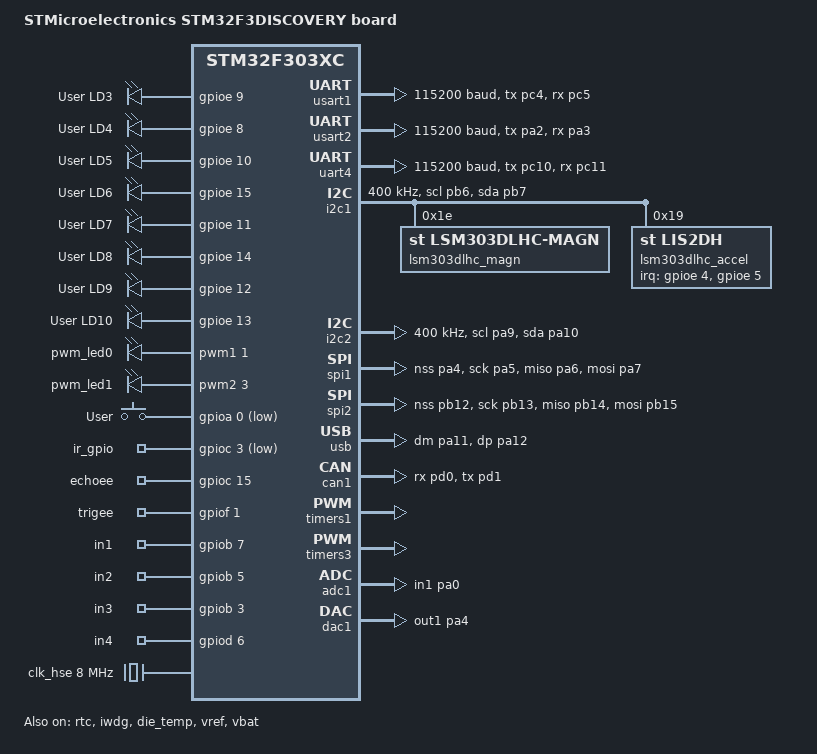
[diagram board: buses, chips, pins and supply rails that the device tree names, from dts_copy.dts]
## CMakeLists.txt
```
# SPDX-License-Identifier: Apache-2.0

cmake_minimum_required(VERSION 3.20.0)

# Find Zephyr base, required for Zephyr projects
find_package(Zephyr REQUIRED HINTS $ENV{ZEPHYR_BASE})
target_link_libraries(app PUBLIC zephyr)


# Define the project name
project(HW3)

# Gather all .c files from the src directory
file(GLOB SOURCES "src/*.c")

# Gather all .h files from the inc directory (not directly added to the target, just for inclusion)
file(GLOB HEADERS "inc/*.h")

# Specify the source files for the 'app' target
target_sources(app PRIVATE ${SOURCES})

# Include the headers directory for the 'app' target
target_include_directories(app PRIVATE ${CMAKE_SOURCE_DIR}/inc)
```

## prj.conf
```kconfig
CONFIG_PRINTK=y
CONFIG_HEAP_MEM_POOL_SIZE=256

CONFIG_CMSIS_DSP=y
CONFIG_CMSIS_DSP_FILTERING=y

CONFIG_SERIAL=y
CONFIG_UART_CONSOLE=y
CONFIG_CONSOLE=y

CONFIG_REQUIRES_FLOAT_PRINTF=y
CONFIG_REQUIRES_FULL_LIBC=y
CONFIG_RING_BUFFER=y

CONFIG_PWM=y
CONFIG_GPIO=y


CONFIG_SENSOR=y
CONFIG_LOG=y
CONFIG_SENSOR_LOG_LEVEL_DBG=y

# Enable sensor subsystem and HCSR04
```

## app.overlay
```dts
/ {
    hcsr04: hcsr04@0 {
        compatible = "hcsr04";
        label = "HCSR04";
        trigger-gpios = <&gpiof 1 GPIO_ACTIVE_HIGH>;
        echo-gpios = <&gpioc 15 GPIO_ACTIVE_HIGH>;
        status = "okay";
    };
};
```

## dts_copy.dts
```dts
/*
 * Copyright (c) 2017 I-SENSE group of ICCS
 *
 * SPDX-License-Identifier: Apache-2.0
 */

/dts-v1/;
#include <st/f3/stm32f303Xc.dtsi>
#include <st/f3/stm32f303v(b-c)tx-pinctrl.dtsi>
#include <zephyr/dt-bindings/input/input-event-codes.h>

/ {
	model = "STMicroelectronics STM32F3DISCOVERY board";
	compatible = "st,stm32f3discovery";

	chosen {
		zephyr,console = &usart1;
		zephyr,shell-uart = &usart1;
		zephyr,sram = &sram0;
		zephyr,flash = &flash0;
		zephyr,canbus = &can1;
	};

	leds {
		compatible = "gpio-leds";
		red_led_3: led_3 {
			gpios = <&gpioe 9 GPIO_ACTIVE_HIGH>;
			label = "User LD3";
		};
		blue_led_4: led_4 {
			gpios = <&gpioe 8 GPIO_ACTIVE_HIGH>;
			label = "User LD4";
		};
		orange_led_5: led_5 {
			gpios = <&gpioe 10 GPIO_ACTIVE_HIGH>;
			label = "User LD5";
		};
		green_led_6: led_6 {
			gpios = <&gpioe 15 GPIO_ACTIVE_HIGH>;
			label = "User LD6";
		};
		green_led_7: led_7 {
			gpios = <&gpioe 11 GPIO_ACTIVE_HIGH>;
			label = "User LD7";
		};
		orange_led_8: led_8 {
			gpios = <&gpioe 14 GPIO_ACTIVE_HIGH>;
			label = "User LD8";
		};
		blue_led_9: led_9 {
			gpios = <&gpioe 12 GPIO_ACTIVE_HIGH>;
			label = "User LD9";
		};
		red_led_10: led_10 {
			gpios = <&gpioe 13 GPIO_ACTIVE_HIGH>;
			label = "User LD10";
		};
	};

	pwmleds {
		compatible = "pwm-leds";
		pwm_led0: pwm_led_0 {
			pwms = <&pwm1 1 PWM_USEC(100)
			PWM_POLARITY_NORMAL>;
		};

		pwm_led1: pwm_led_1 {
			pwms = <&pwm2 3 PWM_USEC(100)
			PWM_POLARITY_NORMAL>;
		};

	};


	gpio_keys {
		compatible = "gpio-keys";
		user_button: button {
			label = "User";
			gpios = <&gpioa 0 GPIO_ACTIVE_LOW>;
			zephyr,code = <INPUT_KEY_0>;
		};

		ir_gpio: ir {
			label = "ir_gpio";
			gpios = <&gpioc 3 GPIO_ACTIVE_LOW>;
		};

		echoee: echo {
			label = "echoee";
			gpios = <&gpioc 15 GPIO_ACTIVE_HIGH>;
		};

		trigee: trig {
			label = "trigee";
			gpios = <&gpiof 1 GPIO_ACTIVE_HIGH>;
		};

		in1: in1{
			label = "in1";
			gpios = <&gpiob 7 GPIO_ACTIVE_HIGH>;
		};

		in2: in2{
			label = "in2";
			gpios = <&gpiob 5 GPIO_ACTIVE_HIGH>;   
		};

		in3: in3{
			label = "in3";
			gpios = <&gpiob 3 GPIO_ACTIVE_HIGH>;
		};

		in4: in4{
			label = "in4";
			gpios = <&gpiod 6 GPIO_ACTIVE_HIGH>;
		};
		
	};

	aliases {
		led0 = &green_led_6;
		led1 = &green_led_7;
		sw0 = &user_button;
		magn0 = &lsm303dlhc_magn;
		watchdog0 = &iwdg;
		accel0 = &lsm303dlhc_accel;
		die-temp0 = &die_temp;
		volt-sensor0 = &vref;
		volt-sensor1 = &vbat;

		//ir_sensor
		ir = &ir_gpio;
		//ultrasonic_sensor
		trig = &trigee;
		echo = &echoee;
		//motor
		ena = &pwm_led0;
		enb = &pwm_led1;

		in1 = &in1;
		in2 = &in2;
		in3 = &in3;
		in4 = &in4;


	};
};

&clk_lsi {
	status = "okay";
};

&clk_hse {
	hse-bypass;
	clock-frequency = <DT_FREQ_M(8)>; /* STLink 8MHz clock */
	status = "okay";
};

&pll {
	prediv = <1>;
	mul = <9>;
	clocks = <&clk_hse>;
	status = "okay";
};

&rcc {
	clocks = <&pll>;
	clock-frequency = <DT_FREQ_M(72)>;
	ahb-prescaler = <1>;
	apb1-prescaler = <2>;
	apb2-prescaler = <1>;
};

&usart1 {
	pinctrl-0 = <&usart1_tx_pc4 &usart1_rx_pc5>;
	pinctrl-names = "default";
	current-speed = <115200>;
	status = "okay";
};

&usart2 {
	pinctrl-0 = <&usart2_tx_pa2 &usart2_rx_pa3>;
	pinctrl-names = "default";
	current-speed = <115200>;
	status = "okay";
};

&uart4 {
	pinctrl-0 = <&uart4_tx_pc10 &uart4_rx_pc11>;
	pinctrl-names = "default";
	current-speed = <115200>;
	status = "okay";
};

&i2c1 {
	pinctrl-0 = <&i2c1_scl_pb6 &i2c1_sda_pb7>;
	pinctrl-names = "default";
	status = "okay";
	clock-frequency = <I2C_BITRATE_FAST>;

	lsm303dlhc_magn: lsm303dlhc-magn@1e {
		compatible = "st,lsm303dlhc-magn";
		reg = <0x1e>;
	};

	lsm303dlhc_accel: lsm303dlhc-accel@19 {
		compatible = "st,lis2dh", "st,lsm303dlhc-accel";
		reg = <0x19>;
		irq-gpios = <&gpioe 4 GPIO_ACTIVE_HIGH>,
			  <&gpioe 5 GPIO_ACTIVE_HIGH>;
	};
};

&i2c2 {
	pinctrl-0 = <&i2c2_scl_pa9 &i2c2_sda_pa10>;
	pinctrl-names = "default";
	status = "okay";
	clock-frequency = <I2C_BITRATE_FAST>;
};

&spi1 {
	pinctrl-0 = <&spi1_nss_pa4 &spi1_sck_pa5
		     &spi1_miso_pa6 &spi1_mosi_pa7>;
	pinctrl-names = "default";
	status = "okay";
};

&spi2 {
	pinctrl-0 = <&spi2_nss_pb12 &spi2_sck_pb13
		     &spi2_miso_pb14 &spi2_mosi_pb15>;
	pinctrl-names = "default";
	status = "okay";
};

zephyr_udc0: &usb {
	pinctrl-0 = <&usb_dm_pa11 &usb_dp_pa12>;
	pinctrl-names = "default";
	status = "okay";
};

&rtc {
	clocks = <&rcc STM32_CLOCK_BUS_APB1 0x10000000>,
		 <&rcc STM32_SRC_LSI RTC_SEL(2)>;
	status = "okay";

	backup_regs {
		status = "okay";
	};
};

&can1 {
	pinctrl-0 = <&can_rx_pd0 &can_tx_pd1>;
	pinctrl-names = "default";
	status = "okay";
};

&flash0 {

	partitions {
		compatible = "fixed-partitions";
		#address-cells = <1>;
		#size-cells = <1>;

		/* Set 6Kb of storage at the end of the 256Kb of flash */
		storage_partition: partition@3e800 {
			label = "storage";
			reg = <0x0003e800 DT_SIZE_K(6)>;
		};
	};
};

&iwdg {
	status = "okay";
};

&timers1 {
	st,prescaler = <10000>;
	status = "okay";

	pwm1: pwm {
		status = "okay";
		pinctrl-0 = <&tim1_ch1_pa8>;
		pinctrl-names = "default";
	};
};

&timers3 {
	st,prescaler = <10000>;
	status = "okay";
	pwm2: pwm {
		status = "okay";
		pinctrl-0 = <&tim3_ch3_pc8>;
		pinctrl-names = "default";
	};
};


&adc1{
	pinctrl-0 = <&adc1_in1_pa0>;
	pinctrl-names = "default";
	st,adc-clock-source = "SYNC";
	st,adc-prescaler = <2>;
	status = "okay";
};

&die_temp {
	status = "okay";
};

&dac1 {
	status = "okay";
	/* dac output pins(pa4,pa5,pa6) might conflict with spi1 pins */
	pinctrl-0 = <&dac_out1_pa4>;
	pinctrl-names = "default";
};

&dma1 {
	status = "okay";
};

&vref {
	status = "okay";
};

&vbat {
	status = "okay";
};
```

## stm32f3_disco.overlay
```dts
/*
 * Overlay for stm32f3_disco board
 * Adds application-specific GPIOs, PWM outputs, and sensor nodes.
 * SPDX-License-Identifier: Apache-2.0
 */

/ {
	gpio_keys {
		compatible = "gpio-keys";

		user_button: button {
			label = "User";
			gpios = <&gpioa 0 GPIO_ACTIVE_LOW>;
			zephyr,code = <INPUT_KEY_0>;
		};

		ir_gpio: ir {
			label = "ir_gpio";
			gpios = <&gpioc 3 GPIO_ACTIVE_LOW>;
		};

		in1: in1 {
			label = "in1";
			gpios = <&gpiob 7 GPIO_ACTIVE_HIGH>;
		};

		in2: in2 {
			label = "in2";
			gpios = <&gpiob 5 GPIO_ACTIVE_HIGH>;
		};

		in3: in3 {
			label = "in3";
			gpios = <&gpiob 3 GPIO_ACTIVE_HIGH>;
		};

		in4: in4 {
			label = "in4";
			gpios = <&gpiod 6 GPIO_ACTIVE_HIGH>;
		};

		my_hc_sr04: my_hc_sr04 {
			compatible = "my-hc-sr04";
			trigger-gpios = <&gpiof 1 GPIO_ACTIVE_HIGH>;
			echo-gpios = <&gpioc 15 GPIO_ACTIVE_HIGH>;
		};
	};

	pwmleds {
		compatible = "pwm-leds";

		pwm_led0: pwm_led_0 {
			pwms = <&pwm1 1 PWM_USEC(100) PWM_POLARITY_NORMAL>;
		};

		pwm_led1: pwm_led_1 {
			pwms = <&pwm2 3 PWM_USEC(100) PWM_POLARITY_NORMAL>;
		};
	};

	aliases {
		ir = &ir_gpio;
		ena = &pwm_led0;
		enb = &pwm_led1;
		in1 = &in1;
		in2 = &in2;
		in3 = &in3;
		in4 = &in4;
	};
};

&timers3 {
	st,prescaler = <10000>;
	status = "okay";

	pwm2: pwm {
		status = "okay";
		pinctrl-0 = <&tim3_ch3_pc8>;
		pinctrl-names = "default";
	};
};
```

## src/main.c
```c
#include <zephyr/kernel.h>
#include "../inc/sensors.h"
#include "../inc/motors.h"
#include "../inc/algo.h"
#include "../inc/uart.h"

#define SENSORS_THREAD_STACK_SIZE 4096
#define SENSORS_THREAD_PRIORITY   5

#define MOTOR_THREAD_STACK_SIZE   1024
#define MOTOR_THREAD_PRIORITY     5

#define ALGO_THREAD_STACK_SIZE    4096
#define ALGO_THREAD_PRIORITY      5

// Thread stacks
K_THREAD_STACK_DEFINE(sensors_stack, SENSORS_THREAD_STACK_SIZE);
K_THREAD_STACK_DEFINE(motors_stack, MOTOR_THREAD_STACK_SIZE);
K_THREAD_STACK_DEFINE(algo_stack, ALGO_THREAD_STACK_SIZE);

// Shared mutex (optional, for any shared resources)
K_MUTEX_DEFINE(my_mutex);

void init_threads(int* delay_ms) 
{
    k_thread_create(&sensors, sensors_stack, SENSORS_THREAD_STACK_SIZE,
                    (k_thread_entry_t)sensors_thread, &delay_ms, NULL, NULL,
                    SENSORS_THREAD_PRIORITY, 0, K_NO_WAIT);

    k_thread_create(&motors, motors_stack, MOTOR_THREAD_STACK_SIZE,
                    (k_thread_entry_t)motors_thread, NULL, NULL, NULL,
                    MOTOR_THREAD_PRIORITY, 0, K_NO_WAIT);

    k_thread_create(&algo, algo_stack, ALGO_THREAD_STACK_SIZE,
                    (k_thread_entry_t)algo_thread, NULL, NULL, NULL,
                    ALGO_THREAD_PRIORITY, 0, K_NO_WAIT);
}

int main(void) {
    int frequency = get_user_frequency();  // Custom UART input
    int delay_ms = 1000 / frequency;

    printk("\nFrequency: %d Hz | Delay: %d ms\n", frequency, delay_ms);

    init_threads(&delay_ms);

    return 0;
}
```

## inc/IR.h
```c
#ifndef IR_H
#define IR_H

int init_IR(void);

int read_IR(void);

#endif
```

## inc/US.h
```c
#ifndef US_H
#define US_H

int init_US(void);
int read_US(void);

#endif
```

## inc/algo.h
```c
#ifndef ALGO_H
#define ALGO_H

#include "sensors.h"

extern struct k_thread algo;

typedef struct
{
    char command;
    double speed_l;
    double speed_r;
} vector_t;


void compute_command(sensors_data_t* sensor_data, vector_t* vector);

void receive_sensors_data(sensors_data_t* sensor_data);

void send_to_motors(vector_t* vector);

void algo_thread();

#endif
```

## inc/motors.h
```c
#ifndef MOTOR_H
#define MOTOR_H

#include "algo.h"

extern struct k_thread motors;

void init_motors();

void receive_command(vector_t* vector);

void set_motor_direction(vector_t* vector);

void set_speeds(double duty_cycle_r, double duty_cycle_l);

void motors_thread();

#endif
```

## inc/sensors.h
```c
#ifndef SENSORS_H
#define SENSORS_H

#include "arm_math.h"
#include <zephyr/sys/ring_buffer.h>


typedef struct
{
    int IR_data;
    float32_t US_data;
} sensors_data_t;

extern struct k_thread sensors;
extern struct k_msgq sensor_queue;

int init_sensors();

sensors_data_t* read_sensors();

float32_t process_sensor_data(float32_t *US_array, int BLOCK_SIZE);

void sensors_thread(void *p1, void *p2, void *p3);

#endif
```

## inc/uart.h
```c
#ifndef UART_H
#define UART_H

int get_user_frequency();

#endif
```

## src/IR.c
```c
#include "../inc/IR.h"
#include <zephyr/drivers/gpio.h>
#include <zephyr/kernel.h>
#include <zephyr/logging/log.h>

LOG_MODULE_REGISTER(ir, CONFIG_LOG_DEFAULT_LEVEL);

#define IR_NODE DT_ALIAS(ir)
static const struct gpio_dt_spec ir = GPIO_DT_SPEC_GET(IR_NODE, gpios);

int init_IR(void)
{

    if (!gpio_is_ready_dt(&ir)) 
    {
        LOG_ERR("GPIO device is not ready");
        return -1;
    }

    int ret = gpio_pin_configure_dt(&ir, GPIO_INPUT);
    if (ret < 0) 
    {
        LOG_ERR("Error configuring GPIO pin: %d", ret);
        return -1;
    }
    return 0;
}

int read_IR(void)
{
    int ir_state = gpio_pin_get_dt(&ir);
    return ir_state;
}
```

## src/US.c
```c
#include <zephyr/device.h>
#include <zephyr/drivers/sensor.h>
#include <zephyr/devicetree.h>
#include <zephyr/sys/printk.h>
#include "../inc/US.h"
#include <zephyr/logging/log.h>

LOG_MODULE_REGISTER(us, CONFIG_LOG_DEFAULT_LEVEL);

struct sensor_value distance;
static const struct device *hcsr04_dev =  DEVICE_DT_GET_ANY(my_hc_sr04);

int init_US(void) 
{    
    if (!device_is_ready(hcsr04_dev)) 
    {
        LOG_ERR("HCSR04 sensor device not ready");
        return -1;
    }
    LOG_INF("HCSR04 sensor initialized");
    return 0;
}

int read_US(void) {
    if (sensor_sample_fetch(hcsr04_dev) < 0) {
        LOG_ERR("Failed to fetch sensor sample");
        return -1;
    }

    if (sensor_channel_get(hcsr04_dev, SENSOR_CHAN_DISTANCE, &distance) < 0) {
        LOG_ERR("Failed to get sensor channel data");
        return -1;
    }

    return distance.val1; // Distance in cm (integer part)
}
```

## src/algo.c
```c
#include "../inc/algo.h"
#include "../inc/motors.h"
#include <zephyr/kernel.h>
#include <zephyr/sys/printk.h>
#include <zephyr/drivers/pwm.h>
#include <zephyr/device.h>
#include <zephyr/devicetree.h>
#include <zephyr/logging/log.h>

LOG_MODULE_REGISTER(algo, CONFIG_LOG_DEFAULT_LEVEL);

// Define message queues
K_MSGQ_DEFINE(motor_queue, sizeof(vector_t), 10, 4);

struct k_thread algo;

// Thresholds
#define MAX_THRESHOLD 13
#define MIN_THRESHOLD 8
#define MIN_SPEED 20
#define L_MAX_SPEED 100 //100
#define R_MAX_SPEED 90 //98

void compute_command(sensors_data_t *sensor_data, vector_t* vector) 
{
    // int right = (sensor_data->US_data > MAX_THRESHOLD); //away from wall
    // int left =  (sensor_data->US_data < MIN_THRESHOLD); //towards wall

    if (sensor_data->IR_data == 1)
    {   
        vector->speed_l = 0;
        vector->speed_r = 0;
        vector->command = 'F';
        // if (sensor_data->US_data < MAX_THRESHOLD)
        // {
        //     vector->speed_l = 0;//L_MAX_SPEED*0.3;
        //     vector->speed_r = 0;
        // }
        // else{
        //     vector->speed_l = 0;
        //     vector->speed_r = 0;//R_MAX_SPEED*0.3;
        // }
        // k_sleep(K_MSEC(300));

    }
    else
    {   
        // vector->speed_l = L_MAX_SPEED; //65  //sensor_data->US_data - MIN_THRESHOLD;
        // vector->speed_r = R_MAX_SPEED; //75
        if ((sensor_data->US_data > MAX_THRESHOLD))
        {
            vector->speed_l = 0;//L_MAX_SPEED*0.0; // 68
            vector->speed_r = 0;//R_MAX_SPEED*0.0; // 65 //sensor_data->US_data - MIN_THRESHOLD;
        }
        else if ((sensor_data->US_data < MIN_THRESHOLD))
        {
            vector->speed_l = L_MAX_SPEED*0.45; //65  //sensor_data->US_data - MIN_THRESHOLD;
            vector->speed_r = R_MAX_SPEED*0.35; //75
        }
        
    }

    vector->command = 'F';

}

void receive_sensors_data(sensors_data_t *sensor_data)
{
    if (k_msgq_get(&sensor_queue, sensor_data, K_FOREVER) == 0)
        LOG_INF("Received sensor data: IR=%d, US=%f", sensor_data->IR_data,(double)sensor_data->US_data);
}

void send_to_motors(vector_t* vector) 
{
    if (k_msgq_put(&motor_queue, vector, K_NO_WAIT) != 0)
        LOG_INF("Motor queue full, dropping command");
    else
        LOG_INF("Sent command: %c speed_r: %f, speed_l: %f", vector->command, vector->speed_r, vector->speed_l);
}

void algo_thread(void) 
{
    sensors_data_t sensor_data;
    vector_t vector; 

    while (1) 
    {
        receive_sensors_data(&sensor_data);
        compute_command(&sensor_data, &vector);
        send_to_motors(&vector);
    }
}
```

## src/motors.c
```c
#include "../inc/motors.h"
#include <zephyr/sys/printk.h>
#include <zephyr/kernel.h>
#include <zephyr/devicetree.h>
#include <zephyr/drivers/gpio.h>
#include <zephyr/drivers/pwm.h>
#include <zephyr/logging/log.h>

LOG_MODULE_REGISTER(motors, CONFIG_LOG_DEFAULT_LEVEL);
// Motor control thread
struct k_thread motors;

// Define message queue (extern from algo.c)
extern struct k_msgq motor_queue;

// Motor GPIO and PWM definitions
#define IN1 DT_ALIAS(in1)
#define IN2 DT_ALIAS(in2)
#define IN3 DT_ALIAS(in3)
#define IN4 DT_ALIAS(in4)

static const struct pwm_dt_spec enA = PWM_DT_SPEC_GET(DT_ALIAS(ena));
static const struct pwm_dt_spec enB = PWM_DT_SPEC_GET(DT_ALIAS(enb));

static const struct gpio_dt_spec in1 = GPIO_DT_SPEC_GET(IN1, gpios);
static const struct gpio_dt_spec in2 = GPIO_DT_SPEC_GET(IN2, gpios);
static const struct gpio_dt_spec in3 = GPIO_DT_SPEC_GET(IN3, gpios);
static const struct gpio_dt_spec in4 = GPIO_DT_SPEC_GET(IN4, gpios);

#define MAX_PERIOD PWM_MSEC(100U)

uint32_t period = MAX_PERIOD;

int ret1, ret2;


// Motor initialization function
void init_motors(void)
{
    int ret;

    ret = gpio_pin_configure_dt(&in1, GPIO_OUTPUT_ACTIVE);
    if (ret < 0) {
        LOG_ERR("Error %d: failed to configure in1 pin", ret);            
        return; 
    }
    ret = gpio_pin_configure_dt(&in2, GPIO_OUTPUT_ACTIVE);
    if (ret < 0) {
        LOG_ERR("Error %d: failed to configure in2 pin", ret);            
        return;
    }
    ret = gpio_pin_configure_dt(&in3, GPIO_OUTPUT_ACTIVE);
    if (ret < 0) {
        LOG_ERR("Error %d: failed to configure in3 pin", ret);            
        return;
    }
    ret = gpio_pin_configure_dt(&in4, GPIO_OUTPUT_ACTIVE);
    if (ret < 0) {
        LOG_ERR("Error %d: failed to configure in4 pin", ret);                          
        return;
    }

    if (!pwm_is_ready_dt(&enA) || !pwm_is_ready_dt(&enB)) {
        LOG_ERR("Error %d: failed to configure enable pin", ret);                    
        return;
    }

    LOG_INF("Motors initialized successfully");
}

// Function to set motor direction based on received command
void set_motor_direction(vector_t* vector)
{
    switch (vector->command) {
        case 'F': // Move Forward
            gpio_pin_set_dt(&in1, 1);
            gpio_pin_set_dt(&in2, 0);
            gpio_pin_set_dt(&in3, 0);
            gpio_pin_set_dt(&in4, 1);
            LOG_INF("Motors moving forward");
            break;

        case 'B': // Move Backward
            gpio_pin_set_dt(&in1, 0);
            gpio_pin_set_dt(&in2, 1);
            gpio_pin_set_dt(&in3, 1);
            gpio_pin_set_dt(&in4, 0);
            LOG_INF("Motors moving backward");
            break;



        default:
            LOG_INF("Motors stopped");
            gpio_pin_set_dt(&in1, 0);
            gpio_pin_set_dt(&in2, 0);
            gpio_pin_set_dt(&in3, 0);
            gpio_pin_set_dt(&in4, 0);
            break;
    }
}

// Function to adjust speed
void set_speeds(double duty_cycle_r, double duty_cycle_l)
{
    int new_speed_r = duty_cycle_r * period;
    int new_speed_l = duty_cycle_l * period;
    ret1 = pwm_set_dt(&enA, period, new_speed_l);
    ret2 = pwm_set_dt(&enB, period, new_speed_r);

    if (ret1) 
    {
        LOG_ERR("Error %d: failed to set pulse width for enA", ret1);  
        return;
    }

    if (ret2) 
    {
        LOG_ERR("Error %d: failed to set pulse width for enB", ret2);
        return;
    }

    LOG_INF("Motor speeds updated, duty_cycle_r: %f , duty_cycle_l: %f", duty_cycle_r, duty_cycle_l);
}

// Function to receive motor commands from message queue
void receive_command(vector_t* vector)
{
    if (k_msgq_get(&motor_queue, vector, K_FOREVER) == 0) 
        LOG_INF("Received motor command: %c right speed: %f left speed: %f", vector->command, vector->speed_r, vector->speed_l);
}

// Motor thread function
void motors_thread(void)
{
    init_motors();
    vector_t vector;

    while (1) {

        receive_command(&vector);
        set_speeds(vector.speed_r/100, vector.speed_l/100);
        set_motor_direction(&vector);
    }
}
```

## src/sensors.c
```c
#include <zephyr/kernel.h>
#include <zephyr/sys/ring_buffer.h>
#include <zephyr/drivers/gpio.h>
#include <zephyr/logging/log.h>
#include <stdio.h>
#include "../inc/sensors.h"
#include "../inc/IR.h"
#include "../inc/US.h"

LOG_MODULE_REGISTER(sensors, CONFIG_LOG_DEFAULT_LEVEL);

#define NUM_TAPS   4  
#define BLOCK_SIZE 10  
#define BUFFER_SIZE 10

struct k_thread sensors;
// FIR filter coefficients
float32_t firCoeffs[NUM_TAPS] = {0.1, 0.1, 0.1, 0.1};

// FIR filter instance and state
arm_fir_instance_f32 fir_US;
static float32_t firState_US[NUM_TAPS + BLOCK_SIZE - 1] = {0};

// Ring buffer for US data
struct ring_buf us_data_buffer;
uint8_t us_data_storage[BUFFER_SIZE * sizeof(float32_t)];

// Message queue for sensor data
K_MSGQ_DEFINE(sensor_queue, sizeof(sensors_data_t), 10, 4);

// Semaphore for sensor reads
K_SEM_DEFINE(sensor_read_sem, 0, 1);

// Work queue and work item
struct k_work_q my_work_q;
K_THREAD_STACK_DEFINE(work_q_stack, 2048);


// Initialize sensors
int init_sensors() {
    if (init_IR() != 0 || init_US() != 0)
        return -1; // Initialization failed
    return 0; // Success
}

// Read sensor data
sensors_data_t* read_sensors() 
{
    sensors_data_t* data = k_malloc(sizeof(sensors_data_t));
    if (data == NULL) 
    {
        LOG_ERR("Memory allocation failed");
        return NULL;
    }

    data->IR_data = read_IR();
    data->US_data = read_US();
    return data;
}

// Process sensor data using FIR filter
float32_t process_sensor_data(float32_t *US_array, int len) 
{
    float32_t *US_filtered = k_malloc(len * sizeof(float32_t)); // Dynamically allocate memory
    if (US_filtered == NULL) 
    {
        LOG_ERR("Memory allocation failed for US_filtered");
        return 0.0;
    }

    arm_fir_f32(&fir_US, US_array, US_filtered, len);
    float32_t result = US_filtered[len - 1];
    k_free(US_filtered); // Free allocated memory
    return result;
}

// Initialize ring buffer
void init_sensor_buffer() 
{
    ring_buf_init(&us_data_buffer, BUFFER_SIZE * sizeof(float32_t), us_data_storage);
}

// Store US data in ring buffer
void store_us_data_in_buffer(float32_t us_data) 
{
    int ret = ring_buf_put(&us_data_buffer, (uint8_t *)&us_data, sizeof(float32_t));
    if (ret != sizeof(float32_t)) 
    {
        LOG_INF("Ring buffer is full. Overwriting oldest data.");
        ring_buf_reset(&us_data_buffer); // Reset buffer to overwrite old data
        ring_buf_put(&us_data_buffer, (uint8_t *)&us_data, sizeof(float32_t));
    }
}

// Read US data from ring buffer
int read_us_data_from_buffer(float32_t *us_data, int max_size) 
{
    int len = ring_buf_get(&us_data_buffer, (uint8_t *)us_data, sizeof(float32_t) * max_size);
    return len / sizeof(float32_t);
}

// Work handler for processing sensor data
void sensor_work_handler(struct k_work *work) 
{
    sensors_data_t* sensor_data = read_sensors();
    if (sensor_data == NULL) 
    {
        LOG_ERR("Failed to allocate memory for sensor data");
        return;
    }
    store_us_data_in_buffer(sensor_data->US_data);
    float32_t US_array[BUFFER_SIZE]; // Local array for US data
    int len = read_us_data_from_buffer(US_array, BUFFER_SIZE);
    
    if (len > 0) 
    {
        float32_t filtered_us_data = process_sensor_data(US_array, len);
        sensor_data->US_data = filtered_us_data;
        LOG_INF("IR_value: %d Filtered US value: %f", sensor_data->IR_data, (double)filtered_us_data);
    }

    if (k_msgq_put(&sensor_queue, sensor_data, K_NO_WAIT) != 0) 
    {
        LOG_INF("Sensor queue full, dropping data\n");
        k_free(sensor_data); // Free memory if message queue is full
    } 
    else
        k_free(sensor_data); // Free memory after successful enqueue
    
}

K_WORK_DEFINE(sensor_work, sensor_work_handler);

// Timer handler to submit work
void sensor_timer_handler(struct k_timer *dummy) 
{
    k_work_submit_to_queue(&my_work_q, &sensor_work); // Submit work to queue
}

// Timer for periodic sensor reads
K_TIMER_DEFINE(sensor_timer, sensor_timer_handler, NULL);

// Sensors thread
void sensors_thread(void *p1, void *p2, void *p3) 
{
    // Start work queue
    k_work_queue_start(
        &my_work_q,
        work_q_stack,
        K_THREAD_STACK_SIZEOF(work_q_stack),
        5, // Priority
        NULL
    );

    // Initialize sensors and buffer
    if (init_sensors() != 0) 
    {
        LOG_ERR("Sensor initialization failed");
        return;
    }
    init_sensor_buffer();
    arm_fir_init_f32(&fir_US, NUM_TAPS, firCoeffs, firState_US, BLOCK_SIZE);

    // Start periodic timer
    k_timer_start(&sensor_timer, K_NO_WAIT, K_MSEC(100));

    // Sleep forever (thread does nothing else)
    while (1) {
        k_sleep(K_FOREVER);
    }
}
```

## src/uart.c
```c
#include <zephyr/kernel.h>
#include <zephyr/drivers/uart.h>
#include <stdlib.h>
#include "../inc/uart.h"
#include <zephyr/logging/log.h>

LOG_MODULE_REGISTER(uart, CONFIG_LOG_DEFAULT_LEVEL);

#define UART_DEVICE_NODE DT_CHOSEN(zephyr_console)
static const struct device *uart_dev = DEVICE_DT_GET(UART_DEVICE_NODE);

int get_user_frequency()
{
    if (!device_is_ready(uart_dev)) 
    {
        LOG_ERR("UART device not found!\n");
        return 10;
    }

    char input[10] = {0};
    int index = 0, freq = 0;

    printk("\nEnter frequency (10Hz - 50Hz): ");

    while (index < (sizeof(input) - 1))
    {
        uint8_t c;
        while (uart_poll_in(uart_dev, &c) != 0) 
            k_sleep(K_MSEC(10));  // Wait for input

        if (c == '\n' || c == '\r')
            break;

        input[index++] = c;
        printk("%c", c);
    }

    input[index] = '\0';
    freq = atoi(input); 

    if (freq < 10 || freq > 50) 
    {
        printk("\nInvalid frequency! Must be between 10Hz and 50Hz.\n");
        return get_user_frequency(); 
    }
    
    return freq;
}
```
